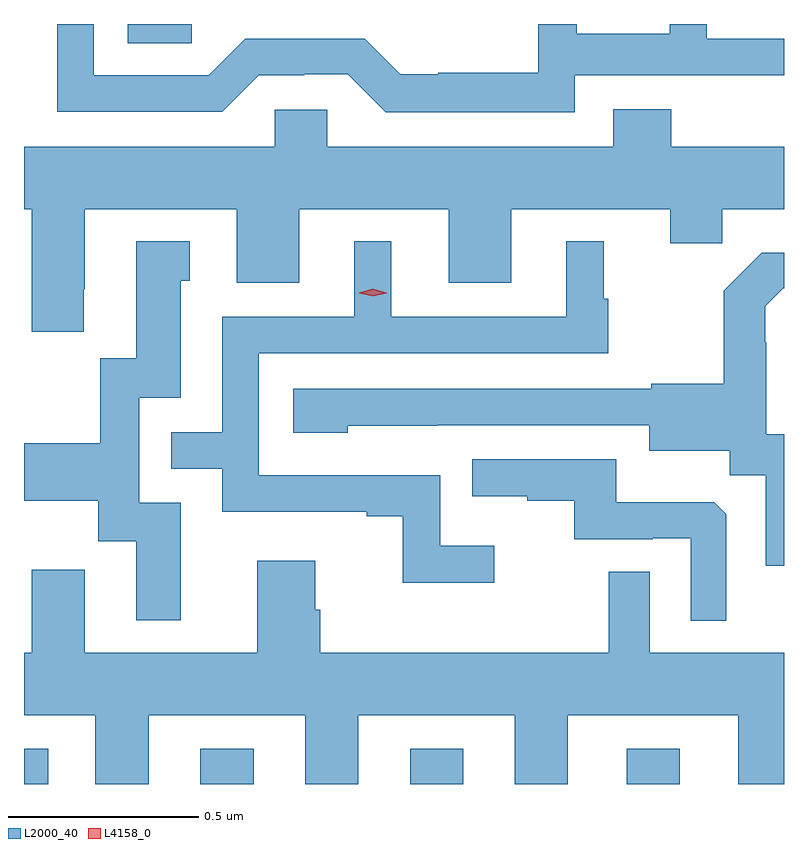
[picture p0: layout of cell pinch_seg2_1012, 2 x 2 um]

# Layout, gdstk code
import gdstk
lib = gdstk.Library(unit=1e-6, precision=1e-09)
def R(c, l, rs):  # rectangles x0, y0, x1, y1
    for r in rs: c.add(gdstk.rectangle(r[:2], r[2:], *l))
def P(c, l, *ps):  # polygons
    for p in ps: c.add(gdstk.Polygon(p, *l))
L2000_40 = (2000, 40)
L4158_0 = (4158, 0)

pinch_seg2_1012 = lib.new_cell('pinch_seg2_1012')
R(pinch_seg2_1012, L2000_40, [(195.879,654.115,195.943,654.208), (196.343,654.115,196.483,654.208), (196.895,654.115,197.035,654.208), (197.465,654.115,197.605,654.208), (196.152,656.065,196.321,656.115)])
P(pinch_seg2_1012, L2000_40, [(197.328,655.98),(197.879,655.98),(197.879,656.076),(197.676,656.076),(197.676,656.115),(197.578,656.115),(197.578,656.089),(197.333,656.089),(197.333,656.115),(197.232,656.115),(197.232,655.987),(196.969,655.987),(196.969,655.983),(196.869,655.983),(196.776,656.076),(196.461,656.076),(196.365,655.98),(196.062,655.98),(196.062,656.115),(195.966,656.115),(195.966,655.884),(196.401,655.884),(196.497,655.98),(196.616,655.98),(196.616,655.983),(196.731,655.983),(196.831,655.883),(197.328,655.883)],
  [(196.036,655.417),(196.039,655.417),(196.039,655.628),(196.439,655.628),(196.439,655.434),(196.603,655.434),(196.603,655.628),(196.997,655.628),(196.997,655.434),(197.161,655.434),(197.161,655.628),(197.579,655.628),(197.579,655.538),(197.717,655.538),(197.717,655.628),(197.879,655.628),(197.879,655.792),(197.582,655.792),(197.582,655.891),(197.429,655.891),(197.429,655.792),(196.677,655.792),(196.677,655.89),(196.539,655.89),(196.539,655.792),(195.879,655.792),(195.879,655.628),(195.899,655.628),(195.899,655.305),(196.036,655.305)],
  [(196.291,654.855),(196.182,654.855),(196.182,655.131),(196.291,655.131),(196.291,655.44),(196.315,655.44),(196.315,655.543),(196.175,655.543),(196.175,655.236),(196.079,655.236),(196.079,655.012),(195.879,655.012),(195.879,654.86),(196.074,654.86),(196.074,654.754),(196.175,654.754),(196.175,654.546),(196.291,654.546)],
  [(197.116,654.742),(196.974,654.742),(196.974,654.927),(196.497,654.927),(196.497,655.248),(197.416,655.248),(197.416,655.392),(197.404,655.392),(197.404,655.543),(197.306,655.543),(197.306,655.344),(196.846,655.344),(196.846,655.543),(196.748,655.543),(196.748,655.344),(196.401,655.344),(196.401,655.041),(196.267,655.041),(196.267,654.945),(196.401,654.945),(196.401,654.831),(196.781,654.831),(196.781,654.819),(196.876,654.819),(196.876,654.644),(197.116,654.644)],
  [(197.879,655.036),(197.832,655.036),(197.832,655.277),(197.83,655.277),(197.83,655.372),(197.877,655.419),(197.879,655.419),(197.879,655.513),(197.821,655.513),(197.721,655.413),(197.721,655.168),(197.529,655.168),(197.529,655.155),(196.587,655.155),(196.587,655.04),(196.731,655.04),(196.731,655.058),(196.967,655.058),(196.967,655.059),(197.525,655.059),(197.525,654.992),(197.736,654.992),(197.736,654.928),(197.831,654.928),(197.831,654.69),(197.879,654.69)],
  [(197.727,654.825),(197.695,654.857),(197.437,654.857),(197.437,654.969),(197.059,654.969),(197.059,654.872),(197.203,654.872),(197.203,654.861),(197.327,654.861),(197.327,654.759),(197.534,654.759),(197.534,654.762),(197.634,654.762),(197.634,654.545),(197.727,654.545)],
  [(196.207,654.296),(196.619,654.296),(196.619,654.115),(196.759,654.115),(196.759,654.296),(197.171,654.296),(197.171,654.115),(197.31,654.115),(197.31,654.296),(197.759,654.296),(197.759,654.115),(197.879,654.115),(197.879,654.46),(197.526,654.46),(197.526,654.674),(197.418,654.674),(197.418,654.46),(196.658,654.46),(196.658,654.573),(196.645,654.573),(196.645,654.703),(196.493,654.703),(196.493,654.46),(196.039,654.46),(196.039,654.679),(195.899,654.679),(195.899,654.46),(195.879,654.46),(195.879,654.296),(196.067,654.296),(196.067,654.115),(196.207,654.115)])
P(pinch_seg2_1012, L4158_0, [(196.797,655.398),(196.761,655.407),(196.761,655.408),(196.761,655.408),(196.797,655.418),(196.833,655.408),(196.833,655.408),(196.833,655.407)])

lib.write_gds('pinch_seg2_1012.gds')
